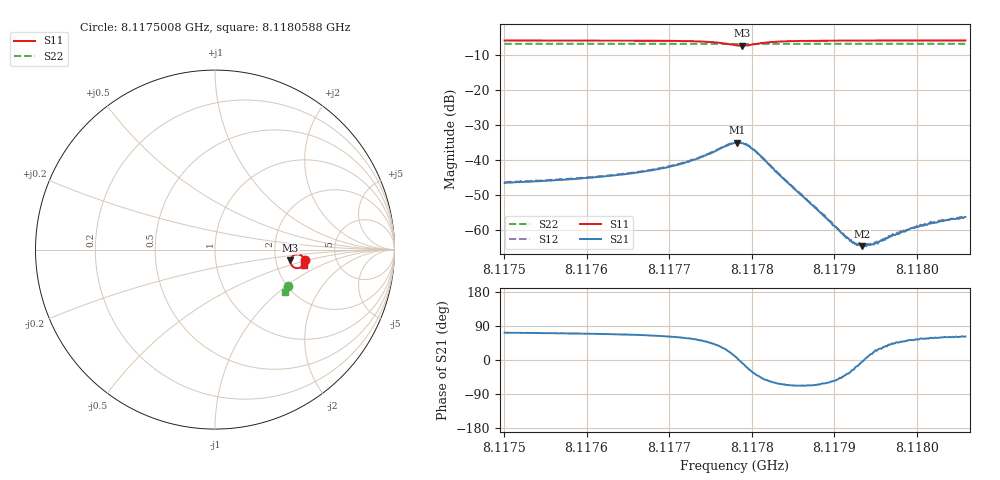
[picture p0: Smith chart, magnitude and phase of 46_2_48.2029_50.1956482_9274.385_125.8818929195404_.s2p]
#  HZ  S  RI  R  50.00
! Rohde & Schwarz Vector Network Analyzer
! Rohde-Schwarz,ZNB20-2Port,1311601062101988,3.16
! Created: UTC 3/20/2024, 11:38:04 AM
! freq[Hz]  re:S11  im:S11  re:S21  im:S21  re:S12  im:S12  re:S22  im:S22
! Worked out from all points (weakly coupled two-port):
!   401 points, 8.1175008 GHz to 8.1180588 GHz, reference 50 ohm
!   highest |S21| = -35.03 dB at 8.1177826 GHz (marker M1); lowest = -64.5 dB at 8.1179333 GHz (marker M2)
!   lowest |S11| = -7.4 dB at 8.1177882 GHz (marker M3), VSWR 2.48, Z = 121 - j17.5 ohm
!   |S11| at or under -10 dB: nowhere
!   |S22| runs from -7.0 to -6.9 dB; largest |S21 - S12| = 0.00064
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8.1175008e9  0.5017 -0.058  0.00143 0.00449  0.00156 0.0046  0.4046 -0.202
8.11759427e9  0.4994 -0.0684  0.00191 0.00513  0.00197 0.00521  0.4018 -0.2081
8.11763891e9  0.4976 -0.0746  0.00236 0.00569  0.00245 0.00578  0.4003 -0.2109
8.11768774e9  0.4933 -0.0835  0.00332 0.00668  0.00343 0.0068  0.3985 -0.2142
8.11771146e9  0.4888 -0.0896  0.00433 0.00746  0.00448 0.00755  0.3978 -0.2159
8.11773239e9  0.4814 -0.0964  0.00593 0.00837  0.00618 0.00843  0.3966 -0.2174
8.11776308e9  0.4524 -0.103  0.0121 0.00838  0.0124 0.00835  0.3945 -0.2191
8.11777982e9  0.4246 -0.0827  0.0172 0.003  0.0176 0.00282  0.393 -0.2189
8.11778261e9  0.4219 -0.0755  0.0177 0.0013  0.0178 0.00122  0.3927 -0.2187
8.11778819e9  0.4206 -0.0595  0.0173 -0.00222  0.0175 -0.00238  0.3926 -0.2183
8.11779517e9  0.4286 -0.0409  0.015 -0.00587  0.0151 -0.00617  0.3933 -0.218
8.11780633e9  0.4515 -0.027  0.00978 -0.0082  0.00982 -0.00842  0.3939 -0.2184
8.11783144e9  0.4841 -0.0355  0.00304 -0.00573  0.00306 -0.00588  0.3947 -0.2207
8.11787329e9  0.4964 -0.0541  0.00089 -0.0021  0.000912 -0.00216  0.3935 -0.224
8.11791235e9  0.4986 -0.0641  0.000628 -0.000548  0.000622 -0.000572  0.3922 -0.2268
8.11792352e9  0.4987 -0.0662  0.000592 -0.000286  0.000601 -0.000292  0.392 -0.2276
8.11793328e9  0.4988 -0.068  0.000591 -5.18e-05  0.000612 -6.57e-05  0.3916 -0.2283
8.11794863e9  0.4989 -0.0704  0.000614 0.000247  0.000592 0.000214  0.3912 -0.2293
8.11796676e9  0.4988 -0.0731  0.000607 0.00051  0.000624 0.000538  0.3906 -0.2304
8.11799188e9  0.4988 -0.0763  0.000631 0.000833  0.000684 0.000819  0.3897 -0.232
8.1180142e9  0.4984 -0.079  0.000691 0.00104  0.000691 0.00105  0.3888 -0.2334
8.11805884e9  0.4979 -0.0838  0.000725 0.00137  0.000742 0.00138  0.3874 -0.2363
